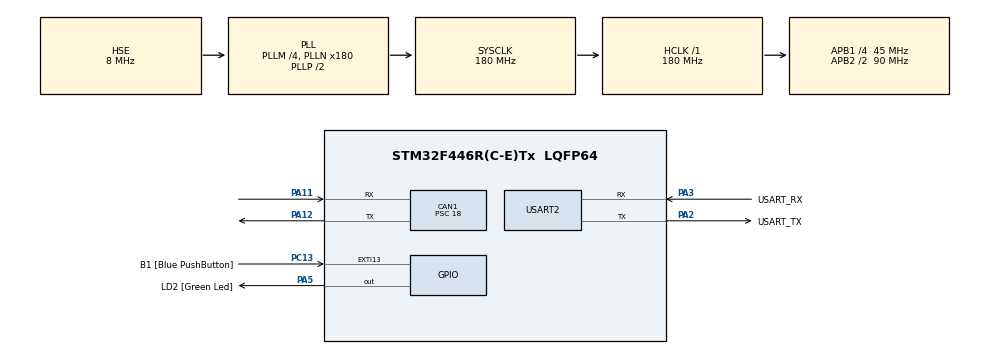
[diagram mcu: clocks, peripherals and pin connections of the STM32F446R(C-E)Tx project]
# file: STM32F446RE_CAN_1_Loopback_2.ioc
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CAN1.BS1=CAN_BS1_2TQ
CAN1.BS2=CAN_BS2_2TQ
CAN1.CalculateBaudRate=500000
CAN1.CalculateTimeBit=2000
CAN1.CalculateTimeQuantum=400.0
CAN1.Mode=CAN_MODE_LOOPBACK
CAN1.Prescaler=18
Mcu.Family=STM32F4
Mcu.Name=STM32F446R(C-E)Tx
Mcu.Package=LQFP64
NVIC.PriorityGroup=NVIC_PRIORITYGROUP_0
PA11.Mode=CAN_Activate
PA11.Signal=CAN1_RX
PA12.Mode=CAN_Activate
PA12.Signal=CAN1_TX
PA13.GPIO_Label=TMS
PA13.Mode=Serial_Wire
PA13.Signal=SYS_JTMS-SWDIO
PA14.GPIO_Label=TCK
PA14.Mode=Serial_Wire
PA14.Signal=SYS_JTCK-SWCLK
PA2.GPIO_Label=USART_TX
PA2.Mode=Asynchronous
PA2.Signal=USART2_TX
PA3.GPIO_Label=USART_RX
PA3.Mode=Asynchronous
PA3.Signal=USART2_RX
PA5.GPIO_Label=LD2 [Green Led]
PA5.Signal=GPIO_Output
PB3.GPIO_Label=SWO
PB3.Signal=SYS_JTDO-SWO
PC13.GPIO_Label=B1 [Blue PushButton]
PC13.GPIO_ModeDefaultEXTI=GPIO_MODE_IT_FALLING
PC13.Signal=GPXTI13
PC14-OSC32_IN.Mode=LSE-External-Oscillator
PC14-OSC32_IN.Signal=RCC_OSC32_IN
PC15-OSC32_OUT.Mode=LSE-External-Oscillator
PC15-OSC32_OUT.Signal=RCC_OSC32_OUT
PH0-OSC_IN.Mode=HSE-External-Oscillator
PH0-OSC_IN.Signal=RCC_OSC_IN
PH1-OSC_OUT.Mode=HSE-External-Oscillator
PH1-OSC_OUT.Signal=RCC_OSC_OUT
ProjectManager.HeapSize=0x200
ProjectManager.StackSize=0x400
ProjectManager.TargetToolchain=STM32CubeIDE
RCC.48MHZClocksFreq_Value=84000000
RCC.AHBFreq_Value=180000000
RCC.APB1CLKDivider=RCC_HCLK_DIV4
RCC.APB1Freq_Value=45000000
RCC.APB1TimFreq_Value=90000000
RCC.APB2CLKDivider=RCC_HCLK_DIV2
RCC.APB2Freq_Value=90000000
RCC.APB2TimFreq_Value=180000000
RCC.CortexFreq_Value=180000000
RCC.FLatency-AdvancedSettings=FLASH_LATENCY_5
RCC.HCLKFreq_Value=180000000
RCC.HSE_VALUE=8000000
RCC.HSI_VALUE=16000000
RCC.PLLM=4
RCC.PLLN=180
RCC.PLLSourceVirtual=RCC_PLLSOURCE_HSE
RCC.SYSCLKFreq_VALUE=180000000
RCC.SYSCLKSource=RCC_SYSCLKSOURCE_PLLCLK
RCC.USBFreq_Value=180000000
RCC.VCOOutputFreq_Value=360000000
USART2.VirtualMode=VM_ASYNC
board=NUCLEO-F446RE

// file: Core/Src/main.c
/* USER CODE BEGIN Header */
/**
  ******************************************************************************
  * @file           : main.c
  * @brief          : Main program body
  ******************************************************************************
  * @attention
  *
  * Copyright (c) 2024 STMicroelectronics.
  * All rights reserved.
  *
  * This software is licensed under terms that can be found in the LICENSE file
  * in the root directory of this software component.
  * If no LICENSE file comes with this software, it is provided AS-IS.
  *
  ******************************************************************************
  */
/* USER CODE END Header */
#include "main.h"

CAN_HandleTypeDef hcan1;

UART_HandleTypeDef huart2;

/* USER CODE BEGIN PV */

CAN_TxHeaderTypeDef TxHeader;
CAN_RxHeaderTypeDef RxHeader;
uint8_t TxData[8];
uint8_t RxData[8];
uint32_t TxMailbox;

/* USER CODE END PV */

void SystemClock_Config(void);
static void MX_GPIO_Init(void);
static void MX_USART2_UART_Init(void);
static void MX_CAN1_Init(void);

int main(void)
{

  /* MCU Configuration--------------------------------------------------------*/

  /* Reset of all peripherals, Initializes the Flash interface and the Systick. */
  HAL_Init();

  /* Configure the system clock */
  SystemClock_Config();

  /* Initialize all configured peripherals */
  MX_GPIO_Init();
  MX_USART2_UART_Init();
  MX_CAN1_Init();
  /* USER CODE BEGIN 2 */
  HAL_CAN_Start(&hcan1);

  TxHeader.StdId = 0x00;
  TxHeader.IDE = CAN_ID_STD;
  TxHeader.RTR = CAN_RTR_DATA;
  TxHeader.DLC = 8;
  TxHeader.TransmitGlobalTime = DISABLE;

  TxData[0] = 'M';
  TxData[1] = 'O';
  TxData[2] = 'N';
  TxData[3] = 'T';
  TxData[4] = 'Y';
  TxData[5] = ' ';
  TxData[6] = 'B';
  TxData[7] = 'H';

  HAL_CAN_AddTxMessage(&hcan1, &TxHeader, TxData, &TxMailbox);

  while(HAL_CAN_GetTxMailboxesFreeLevel(&hcan1) != 3){}

//  if(HAL_CAN_GetRxFifoFillLevel(&hcan1, CAN_RX_FIFO0) != 1)
//  {
//	  Error_Handler();
//  }

  HAL_CAN_GetRxMessage(&hcan1, CAN_RX_FIFO0, &RxHeader, RxData);
  /* USER CODE END 2 */

  /* Infinite loop */
  while (1)
  {

  }
}

void SystemClock_Config(void)
{
  RCC_OscInitTypeDef RCC_OscInitStruct = {0};
  RCC_ClkInitTypeDef RCC_ClkInitStruct = {0};

  /** Configure the main internal regulator output voltage
  */
  __HAL_RCC_PWR_CLK_ENABLE();
  __HAL_PWR_VOLTAGESCALING_CONFIG(PWR_REGULATOR_VOLTAGE_SCALE1);

  /** Initializes the RCC Oscillators according to the specified parameters
  * in the RCC_OscInitTypeDef structure.
  */
  RCC_OscInitStruct.OscillatorType = RCC_OSCILLATORTYPE_HSE;
  RCC_OscInitStruct.HSEState = RCC_HSE_ON;
  RCC_OscInitStruct.PLL.PLLState = RCC_PLL_ON;
  RCC_OscInitStruct.PLL.PLLSource = RCC_PLLSOURCE_HSE;
  RCC_OscInitStruct.PLL.PLLM = 4;
  RCC_OscInitStruct.PLL.PLLN = 180;
  RCC_OscInitStruct.PLL.PLLP = RCC_PLLP_DIV2;
  RCC_OscInitStruct.PLL.PLLQ = 2;
  RCC_OscInitStruct.PLL.PLLR = 2;
  if (HAL_RCC_OscConfig(&RCC_OscInitStruct) != HAL_OK)
  {
    Error_Handler();
  }

  /** Activate the Over-Drive mode
  */
  if (HAL_PWREx_EnableOverDrive() != HAL_OK)
  {
    Error_Handler();
  }

  /** Initializes the CPU, AHB and APB buses clocks
  */
  RCC_ClkInitStruct.ClockType = RCC_CLOCKTYPE_HCLK|RCC_CLOCKTYPE_SYSCLK
                              |RCC_CLOCKTYPE_PCLK1|RCC_CLOCKTYPE_PCLK2;
  RCC_ClkInitStruct.SYSCLKSource = RCC_SYSCLKSOURCE_PLLCLK;
  RCC_ClkInitStruct.AHBCLKDivider = RCC_SYSCLK_DIV1;
  RCC_ClkInitStruct.APB1CLKDivider = RCC_HCLK_DIV4;
  RCC_ClkInitStruct.APB2CLKDivider = RCC_HCLK_DIV2;

  if (HAL_RCC_ClockConfig(&RCC_ClkInitStruct, FLASH_LATENCY_5) != HAL_OK)
  {
    Error_Handler();
  }
}

static void MX_CAN1_Init(void)
{

  hcan1.Instance = CAN1;
  hcan1.Init.Prescaler = 18;
  hcan1.Init.Mode = CAN_MODE_LOOPBACK;
  hcan1.Init.SyncJumpWidth = CAN_SJW_1TQ;
  hcan1.Init.TimeSeg1 = CAN_BS1_2TQ;
  hcan1.Init.TimeSeg2 = CAN_BS2_2TQ;
  hcan1.Init.TimeTriggeredMode = DISABLE;
  hcan1.Init.AutoBusOff = DISABLE;
  hcan1.Init.AutoWakeUp = DISABLE;
  hcan1.Init.AutoRetransmission = DISABLE;
  hcan1.Init.ReceiveFifoLocked = DISABLE;
  hcan1.Init.TransmitFifoPriority = DISABLE;
  if (HAL_CAN_Init(&hcan1) != HAL_OK)
  {
    Error_Handler();
  }
  /* USER CODE BEGIN CAN1_Init 2 */

  CAN_FilterTypeDef sfilterConfig = {0};

  sfilterConfig.FilterActivation = CAN_FILTER_ENABLE;
  sfilterConfig.FilterBank = 0;
  sfilterConfig.FilterFIFOAssignment = CAN_RX_FIFO0;
  sfilterConfig.FilterIdHigh = 0x0000;
  sfilterConfig.FilterIdLow = 0x0000;
  sfilterConfig.FilterMaskIdHigh = 0x0000;
  sfilterConfig.FilterMaskIdLow = 0x0000;
  sfilterConfig.FilterMode = CAN_FILTERMODE_IDMASK;
  sfilterConfig.FilterScale = CAN_FILTERSCALE_32BIT;
  sfilterConfig.SlaveStartFilterBank = 20;

  if(HAL_CAN_ConfigFilter(&hcan1, &sfilterConfig) != HAL_OK)
  {
	  Error_Handler();
  }
  /* USER CODE END CAN1_Init 2 */

}

static void MX_USART2_UART_Init(void)
{

  huart2.Instance = USART2;
  huart2.Init.BaudRate = 115200;
  huart2.Init.WordLength = UART_WORDLENGTH_8B;
  huart2.Init.StopBits = UART_STOPBITS_1;
  huart2.Init.Parity = UART_PARITY_NONE;
  huart2.Init.Mode = UART_MODE_TX_RX;
  huart2.Init.HwFlowCtl = UART_HWCONTROL_NONE;
  huart2.Init.OverSampling = UART_OVERSAMPLING_16;
  if (HAL_UART_Init(&huart2) != HAL_OK)
  {
    Error_Handler();
  }

}

static void MX_GPIO_Init(void)
{
  GPIO_InitTypeDef GPIO_InitStruct = {0};

  /* GPIO Ports Clock Enable */
  __HAL_RCC_GPIOC_CLK_ENABLE();
  __HAL_RCC_GPIOH_CLK_ENABLE();
  __HAL_RCC_GPIOA_CLK_ENABLE();
  __HAL_RCC_GPIOB_CLK_ENABLE();

  /*Configure GPIO pin Output Level */
  HAL_GPIO_WritePin(LD2_GPIO_Port, LD2_Pin, GPIO_PIN_RESET);

  /*Configure GPIO pin : B1_Pin */
  GPIO_InitStruct.Pin = B1_Pin;
  GPIO_InitStruct.Mode = GPIO_MODE_IT_FALLING;
  GPIO_InitStruct.Pull = GPIO_NOPULL;
  HAL_GPIO_Init(B1_GPIO_Port, &GPIO_InitStruct);

  /*Configure GPIO pin : LD2_Pin */
  GPIO_InitStruct.Pin = LD2_Pin;
  GPIO_InitStruct.Mode = GPIO_MODE_OUTPUT_PP;
  GPIO_InitStruct.Pull = GPIO_NOPULL;
  GPIO_InitStruct.Speed = GPIO_SPEED_FREQ_LOW;
  HAL_GPIO_Init(LD2_GPIO_Port, &GPIO_InitStruct);

}

void Error_Handler(void)
{
  __disable_irq();
  while (1)
  {
  }
}
